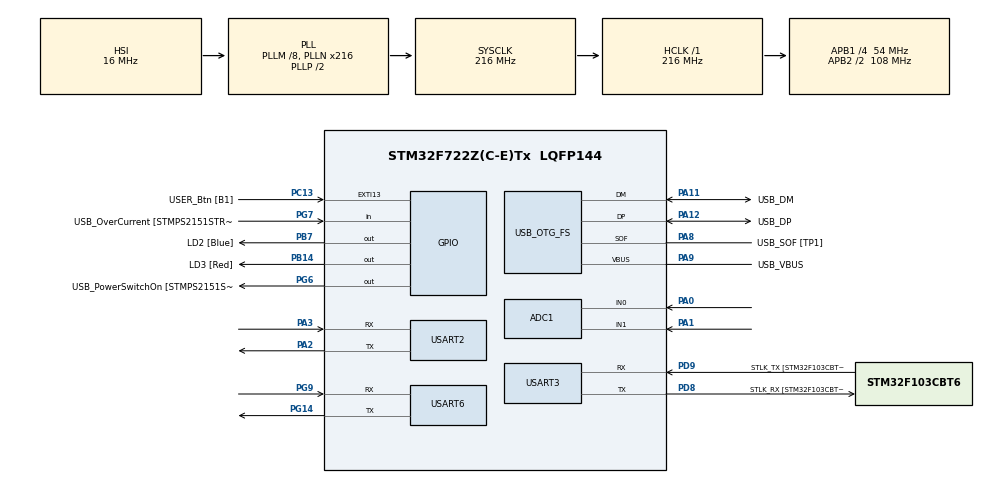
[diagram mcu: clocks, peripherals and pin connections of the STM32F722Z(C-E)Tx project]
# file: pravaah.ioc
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ADC1.Channel-0\#ChannelRegularConversion=ADC_CHANNEL_0
ADC1.Channel-1\#ChannelRegularConversion=ADC_CHANNEL_1
ADC1.DMAContinuousRequests=ENABLE
ADC1.EOCSelection=ADC_EOC_SEQ_CONV
ADC1.ExternalTrigConv=ADC_EXTERNALTRIGCONV_T2_TRGO
ADC1.NbrOfConversion=2
ADC1.NbrOfConversionFlag=1
ADC1.Rank-0\#ChannelRegularConversion=1
ADC1.Rank-1\#ChannelRegularConversion=2
ADC1.SamplingTime-0\#ChannelRegularConversion=ADC_SAMPLETIME_144CYCLES
ADC1.SamplingTime-1\#ChannelRegularConversion=ADC_SAMPLETIME_144CYCLES
ADC1.ScanConvMode=ADC_SCAN_ENABLE
ADC1.master=1
CORTEX_M7.default_mode_Activation=1
Dma.ADC1.0.Direction=DMA_PERIPH_TO_MEMORY
Dma.ADC1.0.FIFOMode=DMA_FIFOMODE_DISABLE
Dma.ADC1.0.Instance=DMA2_Stream0
Dma.ADC1.0.MemDataAlignment=DMA_MDATAALIGN_HALFWORD
Dma.ADC1.0.MemInc=DMA_MINC_ENABLE
Dma.ADC1.0.Mode=DMA_CIRCULAR
Dma.ADC1.0.PeriphDataAlignment=DMA_PDATAALIGN_HALFWORD
Dma.ADC1.0.PeriphInc=DMA_PINC_DISABLE
Dma.ADC1.0.Priority=DMA_PRIORITY_HIGH
Dma.Request0=ADC1
Dma.Request1=USART3_TX
Dma.USART3_TX.1.Direction=DMA_MEMORY_TO_PERIPH
Dma.USART3_TX.1.FIFOMode=DMA_FIFOMODE_DISABLE
Dma.USART3_TX.1.Instance=DMA1_Stream3
Dma.USART3_TX.1.MemDataAlignment=DMA_MDATAALIGN_BYTE
Dma.USART3_TX.1.MemInc=DMA_MINC_ENABLE
Dma.USART3_TX.1.Mode=DMA_NORMAL
Dma.USART3_TX.1.PeriphDataAlignment=DMA_PDATAALIGN_BYTE
Dma.USART3_TX.1.PeriphInc=DMA_PINC_DISABLE
Dma.USART3_TX.1.Priority=DMA_PRIORITY_HIGH
Mcu.Family=STM32F7
Mcu.Name=STM32F722Z(C-E)Tx
Mcu.Package=LQFP144
NVIC.DMA1_Stream3_IRQn=true\:0\:0\:false\:false\:true\:false\:true\:true
NVIC.DMA2_Stream0_IRQn=true\:0\:0\:false\:false\:true\:false\:true\:true
NVIC.PriorityGroup=NVIC_PRIORITYGROUP_4
NVIC.USART6_IRQn=true\:0\:0\:false\:false\:true\:true\:true\:true
PA0-WKUP.Signal=ADCx_IN0
PA1.Signal=ADCx_IN1
PA10.GPIO_Label=USB_ID
PA10.Signal=USB_OTG_FS_ID
PA11.GPIO_Label=USB_DM
PA11.Mode=Device_Only
PA11.Signal=USB_OTG_FS_DM
PA12.GPIO_Label=USB_DP
PA12.Mode=Device_Only
PA12.Signal=USB_OTG_FS_DP
PA13.GPIO_Label=TMS
PA13.Mode=Serial_Wire
PA13.Signal=SYS_JTMS-SWDIO
PA14.GPIO_Label=TCK
PA14.Mode=Serial_Wire
PA14.Signal=SYS_JTCK-SWCLK
PA2.Mode=Asynchronous
PA2.Signal=USART2_TX
PA3.Mode=Asynchronous
PA3.Signal=USART2_RX
PA8.GPIO_Label=USB_SOF [TP1]
PA8.Mode=Activate_SOF_FS
PA8.Signal=USB_OTG_FS_SOF
PA9.GPIO_Label=USB_VBUS
PA9.Mode=Activate_VBUS
PA9.Signal=USB_OTG_FS_VBUS
PB14.GPIO_Label=LD3 [Red]
PB14.Signal=GPIO_Output
PB3.GPIO_Label=SWO
PB3.Signal=SYS_JTDO-SWO
PB7.GPIO_Label=LD2 [Blue]
PB7.Signal=GPIO_Output
PC13.GPIO_Label=USER_Btn [B1]
PC13.Signal=GPXTI13
PC14-OSC32_IN.Mode=LSE-External-Oscillator
PC14-OSC32_IN.Signal=RCC_OSC32_IN
PC15-OSC32_OUT.Mode=LSE-External-Oscillator
PC15-OSC32_OUT.Signal=RCC_OSC32_OUT
PD8.GPIO_Label=STLK_RX [STM32F103CBT6_PA3]
PD8.Mode=Asynchronous
PD8.Signal=USART3_TX
PD9.GPIO_Label=STLK_TX [STM32F103CBT6_PA2]
PD9.Mode=Asynchronous
PD9.Signal=USART3_RX
PG14.Mode=Asynchronous
PG14.Signal=USART6_TX
PG6.GPIO_Label=USB_PowerSwitchOn [STMPS2151STR_EN]
PG6.Signal=GPIO_Output
PG7.GPIO_Label=USB_OverCurrent [STMPS2151STR_FAULT]
PG7.Signal=GPIO_Input
PG9.Mode=Asynchronous
PG9.Signal=USART6_RX
PH0-OSC_IN.GPIO_Label=MCO
PH0-OSC_IN.Mode=HSE-External-Clock-Source
PH0-OSC_IN.Signal=RCC_OSC_IN
PH1-OSC_OUT.Mode=HSE-External-Clock-Source
PH1-OSC_OUT.Signal=RCC_OSC_OUT
ProjectManager.HeapSize=0x200
ProjectManager.StackSize=0x400
ProjectManager.TargetToolchain=STM32CubeIDE
RCC.48MHZClocksFreq_Value=24000000
RCC.AHBFreq_Value=216000000
RCC.APB1CLKDivider=RCC_HCLK_DIV4
RCC.APB1Freq_Value=54000000
RCC.APB1TimFreq_Value=108000000
RCC.APB2CLKDivider=RCC_HCLK_DIV2
RCC.APB2Freq_Value=108000000
RCC.APB2TimFreq_Value=216000000
RCC.CortexFreq_Value=216000000
RCC.HCLKFreq_Value=216000000
RCC.HSE_VALUE=8000000
RCC.HSI_VALUE=16000000
RCC.PLLM=4
RCC.PLLMUL=RCC_PLL_MUL9
RCC.PLLN=216
RCC.PLLQ=9
RCC.PRESCALERUSB=RCC_USBCLKSOURCE_PLL_DIV1_5
RCC.SYSCLKFreq_VALUE=216000000
RCC.SYSCLKSource=RCC_SYSCLKSOURCE_PLLCLK
RCC.SYSCLKSourceVirtual=RCC_SYSCLKSOURCE_PLLCLK
RCC.USBFreq_Value=48000000
RCC.VCOOutputFreq_Value=432000000
SH.ADCx_IN0.0=ADC1_IN0,IN0
SH.ADCx_IN1.0=ADC1_IN1,IN1
TIM2.Period=134
TIM2.Prescaler=124
TIM2.TIM_MasterOutputTrigger=TIM_TRGO_UPDATE
USART2.VirtualMode-Asynchronous=VM_ASYNC
USART3.VirtualMode-Asynchronous=VM_ASYNC
USART6.Parity=PARITY_EVEN
USART6.VirtualMode-Asynchronous=VM_ASYNC
USART6.WordLength=WORDLENGTH_9B
USB_OTG_FS.VirtualMode=Device_Only
VP_TIM2_VS_ClockSourceINT.Mode=Internal
board=NUCLEO-F722ZE

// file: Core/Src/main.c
/* USER CODE BEGIN Header */
/**
  ******************************************************************************
  * @file           : main.c
  * @brief          : Main program body
  ******************************************************************************
  * @attention
  *
  * Copyright (c) 2025 STMicroelectronics.
  * All rights reserved.
  *
  * This software is licensed under terms that can be found in the LICENSE file
  * in the root directory of this software component.
  * If no LICENSE file comes with this software, it is provided AS-IS.
  *
  ******************************************************************************
  */
/* USER CODE END Header */
#include "main.h"

/* USER CODE BEGIN Includes */
#include <string.h>
#include <stdio.h>
#include <stdbool.h>
#include <math.h>
#include "arm_math.h"
#include "arm_const_structs.h"

/* USER CODE END Includes */

ADC_HandleTypeDef hadc1;
DMA_HandleTypeDef hdma_adc1;

TIM_HandleTypeDef htim2;

UART_HandleTypeDef huart2;
UART_HandleTypeDef huart3;
UART_HandleTypeDef huart6;
DMA_HandleTypeDef hdma_usart3_tx;

PCD_HandleTypeDef hpcd_USB_OTG_FS;

/* USER CODE BEGIN PV */
volatile uint8_t uart3_tx_done = 1;

#define KMC_PERIOD_MS        1000U     // 1 Hz KMC slots
#define VLD_SPREAD_MS        4000U     // every 4 seconds => ~15 reads/min
#define VLD_MAX_PER_MIN      20U
#define VLD_MIN_PER_MIN      10U       // (not enforced; just target)

#define KMC_PEAK_REL_GATE  0.20f   // gate at 20% of peak power (tune if needed)
#define KMC_FD_MIN_HZ      0.5f    // Doppler band min (example)
#define KMC_FD_MAX_HZ      200.0f  // Doppler band max (example)

#define FS_HZ_INT           3200U
#define CAPTURE_SEC         1U
#define CH_COUNT            2U

#define IQ_PAIRS_PER_CAP    (FS_HZ_INT * CAPTURE_SEC)   // 2400
#define DMA_LEN             (IQ_PAIRS_PER_CAP * CH_COUNT) // 4800 uint16

#define FS_HZ               3200.0f
#define WINDOW_SEC          5
#define IQ_PAIRS_PER_HALF   ((uint32_t)(FS_HZ * WINDOW_SEC))
//#define CH_COUNT            2
//#define DMA_LEN             (IQ_PAIRS_PER_HALF * CH_COUNT * 2)
#define REPORT_EVERY_SEC    5
#define FTX_HZ              24.125e9f
#define C_MPS               3.0e8f

/* Defines from vld1.c (V-LD1 Radar) */
#define N_READS             15
//#define CAPTURE_PERIOD_MS   (1 * 60 * 1000)
#define SIGNAL_TIMEOUT_MS   (2 * 60 * 1000)
#define RELAY_COOLDOWN_MS   (1 * 60 * 1000)

/* Hardware Pin Mapping */
#define RELAY_PIN           GPIO_PIN_10
#define RELAY_PORT          GPIOA
#define TRIGGER_PIN         GPIO_PIN_3
#define TRIGGER_PORT        GPIOB

/* ===== Python-equivalent KMC1 processing settings ===== */
#define FS_HZ_F                 3200.0f
#define RADAR_F0_HZ             24.125e9f
#define CORRECTION_ANGLE_DEG    65.0f

#define BATCH_DURATION_SEC      1U
#define AGG_WINDOW_SEC          60U
#define SLEEP_WINDOW_SEC        240U

#define SAMPLES_PER_BATCH       ((uint32_t)(FS_HZ_F * (float)BATCH_DURATION_SEC)) // 3200
#define KMC_NFFT                4096U   // matches Python outcome

#define MIN_SNR_DB              3.0f
#define THRESH_FRAC_OF_SNR      0.50f
#define CLUTTER_THRESH_MPS      0.15f

// Direction: Python uses 'RECEDING' to take negative-frequency half
#define RIVER_RECEDING          1

static float kmc_fft_buf[2 * KMC_NFFT];          // complex buffer (Re,Im,...)
static float kmc_win[SAMPLES_PER_BATCH];         // Hann window length 3200

static float BIN_TO_VEL;                          // m/s per FFT bin (radial)
static float COS_CORR;                            // cos(angle)

/* ===== IQ streaming over UART3 (binary framed) ===== */
#define IQ_MAGIC0 'I'
#define IQ_MAGIC1 'Q'
#define IQ_MAGIC2 'P'
#define IQ_MAGIC3 'K'
#define IQ_HDR_LEN 20

static volatile uint8_t  iq_tx_busy  = 0;
static volatile uint8_t  iq_tx_stage = 0;   // 0=idle, 1=hdr, 2=payload
static uint8_t           iq_hdr[IQ_HDR_LEN];
static uint32_t          iq_seq = 0;

static uint8_t          *iq_payload_ptr = NULL;
static uint32_t          iq_payload_len = 0;

/* --- Median filter state (keep even if unused) --- */
#define MED_WIN 12
static float   fd_win[MED_WIN];
static uint8_t fd_win_idx   = 0;
static uint8_t fd_win_count = 0;
/* USER CODE END PV */

void SystemClock_Config(void);
static void MPU_Config(void);
static void MX_GPIO_Init(void);
static void MX_DMA_Init(void);
static void MX_USART3_UART_Init(void);
static void MX_USB_OTG_FS_PCD_Init(void);
static void MX_USART6_UART_Init(void);
static void MX_TIM2_Init(void);
static void MX_USART2_UART_Init(void);
static void MX_ADC1_Init(void);

/* USER CODE BEGIN 0 */
/* Global Variables */

#define KMC_READS_PER_CYCLE   60
#define VLD_READS_PER_CYCLE   10

typedef enum { STATE_KMC = 0, STATE_VLD1 = 1 } capture_state_t;
static capture_state_t cap_state = STATE_KMC;

static uint32_t kmc_count = 0;
static uint32_t vld_count = 0;
//static float vld_vals[VLD_MAX_PER_MIN];
//uint32_t vld_n = 0;
//uint32_t next_vld_ms = HAL_GetTick();  // schedule first attempt immediately (or +1000)

extern UART_HandleTypeDef huart2;
extern UART_HandleTypeDef huart3;
extern UART_HandleTypeDef huart6;
extern ADC_HandleTypeDef hadc1;
extern TIM_HandleTypeDef htim2;

/* KMC1 State Variables */
uint16_t adc_dma[DMA_LEN];
volatile uint8_t half_ready = 0;
volatile uint8_t full_ready = 0;
static float v_hist[REPORT_EVERY_SEC];
static uint8_t v_hist_idx = 0;
static uint8_t v_hist_count = 0;
//static float fd_filt = 0.0f;
//static const float beta = 0.8f;
static float cos_tilt = 1.0f;

/* V-LD1 State Variables */
//uint32_t nextCaptureAt = 0;
uint32_t lastSignalTime = 0;
uint32_t cooldownStart = 0;
bool cooldownActive = false;

uint8_t INIT_CMD[] = { 'I','N','I','T', 0x01, 0x00, 0x00, 0x00, 0x00 };
uint8_t GNFD_CMD[] = { 'G','N','F','D', 0x01, 0x00, 0x00, 0x00, 0x04 };
uint8_t START_CMD[] = { 'S','T','R','T', 0x01, 0x00, 0x00, 0x00, 0x01 };

int _write(int file, char *ptr, int len) {
    HAL_UART_Transmit(&huart2, (uint8_t*)ptr, len, HAL_MAX_DELAY);
    return len;
}

/* KMC1 Helper Functions (from main.c) */
static float estimate_fd_hz(const uint16_t *iq, int pairs, float fs_hz) {
    float meanI = 0, meanQ = 0;
    for (int n=0; n<pairs; n++) { meanI += iq[2*n+0]; meanQ += iq[2*n+1]; }
    meanI /= pairs; meanQ /= pairs;

    float prev = 0, sum_dphi = 0;
    for (int n=0; n<pairs; n++) {
        float I = (float)iq[2*n+0] - meanI;
        float Q = (float)iq[2*n+1] - meanQ;
        float phi = atan2f(Q, I);
        if (n>0) {
            float d = phi - prev;
            if (d > (float)M_PI) d -= (float)(2.0*M_PI);
            if (d < -(float)M_PI) d += (float)(2.0*M_PI);
            sum_dphi += d;
        }
        prev = phi;
    }
    return (fs_hz / (2.0f*(float)M_PI)) * (sum_dphi / (pairs-1));
}

static float fd_to_velocity_mps(float fd_hz) {
    return (C_MPS / (2.0f * FTX_HZ)) * fd_hz;
}

/* V-LD1 Helper Functions (from vld1.c) */
HAL_StatusTypeDef readPacket(char* hdr, uint8_t* payload, uint32_t* outLen) {
    uint8_t lenb[4];
    __HAL_UART_CLEAR_IT(&huart6, UART_CLEAR_OREF | UART_CLEAR_NEF | UART_CLEAR_FEF | UART_CLEAR_PEF);
    if (HAL_UART_Receive(&huart6, (uint8_t*)hdr, 4, 300) != HAL_OK) return HAL_TIMEOUT;
    if (HAL_UART_Receive(&huart6, lenb, 4, 100) != HAL_OK) return HAL_TIMEOUT;
    uint32_t len = (uint32_t)lenb[0] | (lenb[1] << 8) | (lenb[2] << 16) | (lenb[3] << 24);
    *outLen = len;
    if (len > 256 || len == 0) return HAL_ERROR;
    return HAL_UART_Receive(&huart6, payload, len, 300);
}

void relayFSM() {
    uint32_t now = HAL_GetTick();
    bool trigger = HAL_GPIO_ReadPin(TRIGGER_PORT, TRIGGER_PIN) == GPIO_PIN_SET;
    if (trigger) {
        lastSignalTime = now;
        if (!cooldownActive) {
            HAL_GPIO_WritePin(RELAY_PORT, RELAY_PIN, GPIO_PIN_SET);
            cooldownActive = true; cooldownStart = now;
        }
    }
    if (!cooldownActive && (now - lastSignalTime >= SIGNAL_TIMEOUT_MS)) {
        HAL_GPIO_WritePin(RELAY_PORT, RELAY_PIN, GPIO_PIN_SET);
        cooldownActive = true; cooldownStart = now;
    }
    if (cooldownActive && (now - cooldownStart >= RELAY_COOLDOWN_MS)) {
        HAL_GPIO_WritePin(RELAY_PORT, RELAY_PIN, GPIO_PIN_RESET);
        cooldownActive = false; lastSignalTime = now;
    }
}

float medianOf(float *arr, int n) {
    float tmp[N_READS];
    for (int i = 0; i < n; ++i) tmp[i] = arr[i];
    for (int i = 1; i < n; ++i) {
        float key = tmp[i]; int j = i - 1;
        while (j >= 0 && tmp[j] > key) { tmp[j + 1] = tmp[j]; --j; }
        tmp[j + 1] = key;
    }
    return (n % 2 != 0) ? tmp[n / 2] : 0.5f * (tmp[n / 2 - 1] + tmp[n / 2]);
}

/* ===== KMC1 FFT helpers ===== */

static void kmc1_init_hann_window(void)
{
    // Hann window length = SAMPLES_PER_BATCH (3200)
    // w[n] = 0.5*(1 - cos(2*pi*n/(N-1)))
    for (uint32_t n = 0; n < SAMPLES_PER_BATCH; n++)
    {
        kmc_win[n] = 0.5f * (1.0f - cosf((2.0f * (float)M_PI * (float)n) / (float)(SAMPLES_PER_BATCH - 1)));
    }

    COS_CORR = cosf(CORRECTION_ANGLE_DEG * (float)M_PI / 180.0f);

    // bin_to_vel_factor = (Fs/NFFT) * (lambda/2)
    // lambda = c/f0
    BIN_TO_VEL = (FS_HZ_F / (float)KMC_NFFT) * ((3.0e8f / RADAR_F0_HZ) * 0.5f);
}

static float kmc_process_one_batch_python(const uint16_t *iq_u16,
                                          float *out_snr_db,
                                          float *out_width_mps)
{
    // ---- 0) DC remove (detrend) on 3200 samples ----
    float meanI = 0.0f, meanQ = 0.0f;
    for (uint32_t n = 0; n < SAMPLES_PER_BATCH; n++)
    {
        meanI += (float)iq_u16[2*n + 0];
        meanQ += (float)iq_u16[2*n + 1];
    }
    meanI /= (float)SAMPLES_PER_BATCH;
    meanQ /= (float)SAMPLES_PER_BATCH;

    // ---- 1) Window + pack into FFT buffer (zero-pad to 4096) ----
    for (uint32_t n = 0; n < SAMPLES_PER_BATCH; n++)
    {
        float I = ((float)iq_u16[2*n + 0] - meanI) * kmc_win[n];
        float Q = ((float)iq_u16[2*n + 1] - meanQ) * kmc_win[n];
        kmc_fft_buf[2*n + 0] = I;
        kmc_fft_buf[2*n + 1] = Q;
    }
    for (uint32_t n = SAMPLES_PER_BATCH; n < KMC_NFFT; n++)
    {
        kmc_fft_buf[2*n + 0] = 0.0f;
        kmc_fft_buf[2*n + 1] = 0.0f;
    }

    // ---- 2) FFT (complex) ----
    arm_cfft_f32(&arm_cfft_sR_f32_len4096, kmc_fft_buf, 0, 1);

    // ---- 3) Power spectrum stats: mean power + peak power ----
    // Python: mag_sq = abs(spectrum)^2
    // noise_floor_db = 10log10(mean(mag_sq)+1e-9)
    // peak_db = max(10log10(mag_sq+1e-9))
    const float eps = 1e-9f;

    float sumP = 0.0f;
    float pmax = 0.0f;

    for (uint32_t k = 0; k < KMC_NFFT; k++)
    {
        float re = kmc_fft_buf[2*k + 0];
        float im = kmc_fft_buf[2*k + 1];
        float p  = re*re + im*im;
        sumP += p;
        if (p > pmax) pmax = p;
    }

    float meanP = sumP / (float)KMC_NFFT;
    float noise_db = 10.0f * log10f(meanP + eps);
    float peak_db  = 10.0f * log10f(pmax  + eps);
    float snr_db   = peak_db - noise_db;

    if (out_snr_db) *out_snr_db = snr_db;

    // ---- 4) SNR gate ----
    if (snr_db < MIN_SNR_DB || !isfinite(snr_db))
    {
        if (out_width_mps) *out_width_mps = 0.0f;
        return 0.0f;
    }

    // ---- 5) Threshold: noise + 0.20 * dynamic_range (which = snr) ----
    float thresh_db  = noise_db + (THRESH_FRAC_OF_SNR * snr_db);
    float thresh_lin = powf(10.0f, thresh_db / 10.0f);

    // ---- 6) Centroid over selected bins (Python direction logic) ----
    // Python:
    // if RECEDING: bins i = N/2..N-1, idx_shifted = i - N (negative)
    // vel = idx_shifted * BIN_TO_VEL
    // skip abs(vel) < clutter
    // if spectrum_db[i] > threshold_db => include (equivalent to p > thresh_lin)
    float num = 0.0f, den = 0.0f;

#if RIVER_RECEDING
    uint32_t start_bin = KMC_NFFT / 2;
    uint32_t end_bin   = KMC_NFFT;
#else
    uint32_t start_bin = 1;
    uint32_t end_bin   = KMC_NFFT / 2;
#endif

    for (uint32_t i = start_bin; i < end_bin; i++)
    {
#if RIVER_RECEDING
        int32_t idx_shifted = (int32_t)i - (int32_t)KMC_NFFT;
#else
        int32_t idx_shifted = (int32_t)i;
#endif
        float vel = (float)idx_shifted * BIN_TO_VEL;

        if (fabsf(vel) < CLUTTER_THRESH_MPS) continue;

        float re = kmc_fft_buf[2*i + 0];
        float im = kmc_fft_buf[2*i + 1];
        float p  = re*re + im*im;

        if (p > thresh_lin)
        {
            num += vel * p;
            den += p;
        }
    }

    if (den <= 0.0f || !isfinite(den))
    {
        if (out_width_mps) *out_width_mps = 0.0f;
        return 0.0f;
    }

    float centroid_radial = num / den;         // m/s (radial)
    float centroid_corr   = centroid_radial / COS_CORR;

    // ---- 7) Spectral width (weighted stddev around centroid_radial) ----
    float var_num = 0.0f;

    for (uint32_t i = start_bin; i < end_bin; i++)
    {
#if RIVER_RECEDING
        int32_t idx_shifted = (int32_t)i - (int32_t)KMC_NFFT;
#else
        int32_t idx_shifted = (int32_t)i;
#endif
        float vel = (float)idx_shifted * BIN_TO_VEL;

        if (fabsf(vel) < CLUTTER_THRESH_MPS) continue;

        float re = kmc_fft_buf[2*i + 0];
        float im = kmc_fft_buf[2*i + 1];
        float p  = re*re + im*im;

        if (p > thresh_lin)
        {
            float d = (vel - centroid_radial);
            var_num += p * (d * d);
        }
    }

    float variance = var_num / den;
    float width = (variance > 0.0f) ? sqrtf(variance) : 0.0f; // radial width

    if (out_width_mps) *out_width_mps = width / COS_CORR;

    // Python returns abs(centroid_corrected)
    float v_out = fabsf(centroid_corr);
    if (!isfinite(v_out)) v_out = 0.0f;
    return v_out;
}

static float kmc1_centroid_from_fft_side(const float *X, float fs_hz,
                                         int use_negative_side,
                                         int kmin, int kmax)
{
    // X is interleaved complex FFT output length NFFT (Re,Im,...)
    // If use_negative_side=0: use bins k=1..N/2-1 (positive)
    // If use_negative_side=1: use bins k=N-1..N/2+1 (negative mapped to +freq magnitude)

    float pmax = 0.0f;

    // 1) find peak power in band (for gating)
    if (!use_negative_side)
    {
        for (int k = kmin; k <= kmax; k++)
        {
            float re = X[2*k + 0];
            float im = X[2*k + 1];
            float p  = re*re + im*im;
            if (p > pmax) pmax = p;
        }
    }
    else
    {
        // negative side bin index maps: freq_mag = fs*(N-k)/N
        for (int kmag = kmin; kmag <= kmax; kmag++)
        {
            int k = KMC_NFFT - kmag; // bin corresponding to -freq_mag
            float re = X[2*k + 0];
            float im = X[2*k + 1];
            float p  = re*re + im*im;
            if (p > pmax) pmax = p;
        }
    }

    if (pmax <= 0.0f) return 0.0f;

    float gate = pmax * KMC_PEAK_REL_GATE;

    // 2) centroid
    float sumP = 0.0f;
    float sumFP = 0.0f;

    if (!use_negative_side)
    {
        for (int k = kmin; k <= kmax; k++)
        {
            float re = X[2*k + 0];
            float im = X[2*k + 1];
            float p  = re*re + im*im;
            if (p < gate) continue;

            float f = (fs_hz * (float)k) / (float)KMC_NFFT;
            sumP  += p;
            sumFP += f * p;
        }
    }
    else
    {
        for (int kmag = kmin; kmag <= kmax; kmag++)
        {
            int k = KMC_NFFT - kmag;
            float re = X[2*k + 0];
            float im = X[2*k + 1];
            float p  = re*re + im*im;
            if (p < gate) continue;

            float fmag = (fs_hz * (float)kmag) / (float)KMC_NFFT; // magnitude
            sumP  += p;
            sumFP += fmag * p;
        }
    }

    if (sumP <= 0.0f) return 0.0f;
    return sumFP / sumP; // fd magnitude in Hz
}

static float estimate_fd_fft_hz(const uint16_t *iq, int pairs, float fs_hz,
                                float *out_meanI, float *out_meanQ)
{
    // We use first KMC_NFFT complex samples (I,Q) from iq[2*n], iq[2*n+1]
    // pairs must be >= KMC_NFFT
    if (pairs < KMC_NFFT) return 0.0f;

    // 1) mean removal (DC)
    float meanI = 0.0f, meanQ = 0.0f;
    for (int n = 0; n < KMC_NFFT; n++)
    {
        meanI += (float)iq[2*n + 0];
        meanQ += (float)iq[2*n + 1];
    }
    meanI /= (float)KMC_NFFT;
    meanQ /= (float)KMC_NFFT;
    if (out_meanI) *out_meanI = meanI;
    if (out_meanQ) *out_meanQ = meanQ;

    // 2) window + pack complex buffer for FFT
    for (int n = 0; n < KMC_NFFT; n++)
    {
        float I = ((float)iq[2*n + 0] - meanI) * kmc_win[n];
        float Q = ((float)iq[2*n + 1] - meanQ) * kmc_win[n];

        kmc_fft_buf[2*n + 0] = I;
        kmc_fft_buf[2*n + 1] = Q;
    }

    // 3) complex FFT (in-place)
    arm_cfft_f32(&arm_cfft_sR_f32_len4096, kmc_fft_buf, 0, 1);

    // 4) choose Doppler band bins
    int kmin = (int)ceilf((KMC_FD_MIN_HZ * (float)KMC_NFFT) / fs_hz);
    int kmax = (int)floorf((KMC_FD_MAX_HZ * (float)KMC_NFFT) / fs_hz);

    if (kmin < 1) kmin = 1;
    if (kmax > (KMC_NFFT/2 - 1)) kmax = (KMC_NFFT/2 - 1);
    if (kmax <= kmin) return 0.0f;

    // 5) compute centroid on both sides, pick the side with higher total gated energy
    // (river direction may map to + or - Doppler depending on mounting)
    float fd_pos = kmc1_centroid_from_fft_side(kmc_fft_buf, fs_hz, 0, kmin, kmax);
    float fd_neg = kmc1_centroid_from_fft_side(kmc_fft_buf, fs_hz, 1, kmin, kmax);

    // pick the larger centroid result only if the other is ~0; otherwise pick the side with bigger fd (practical)
    // (simple heuristic; robust enough for river surface speed magnitude)
    float fd = (fd_pos >= fd_neg) ? fd_pos : fd_neg;
    return fd; // magnitude in Hz
}

static float running_median_fd_push(float x)
{
    // push into ring buffer
    fd_win[fd_win_idx] = x;
    fd_win_idx = (fd_win_idx + 1) % MED_WIN;
    if (fd_win_count < MED_WIN) fd_win_count++;

    // copy current window to temp
    float tmp[MED_WIN];
    for (uint8_t i = 0; i < fd_win_count; i++) tmp[i] = fd_win[i];

    // insertion sort (MED_WIN is tiny)
    for (uint8_t i = 1; i < fd_win_count; i++) {
        float key = tmp[i];
        int j = (int)i - 1;
        while (j >= 0 && tmp[j] > key) {
            tmp[j + 1] = tmp[j];
            j--;
        }
        tmp[j + 1] = key;
    }

    // median
    if (fd_win_count & 1) {
        return tmp[fd_win_count / 2];
    } else {
        uint8_t m = fd_win_count / 2;
        return 0.5f * (tmp[m - 1] + tmp[m]);
    }
}

static void uart3_send_blocking(const uint8_t *buf, uint32_t len)
{
    while (len)
    {
        uint16_t n = (len > 1024) ? 1024 : (uint16_t)len;
        HAL_UART_Transmit(&huart3, (uint8_t*)buf, n, HAL_MAX_DELAY);
        buf += n;
        len -= n;
    }
}

static int vld1_read_distance_once(float *out_m)
{
    // Returns:
    //  0  -> got PDAT float distance
    // -1  -> no valid PDAT this attempt (timeout/other packet)
    // -2  -> UART error

    // Clear UART6 errors + flush RX (same as your standalone code)
    __HAL_UART_CLEAR_IT(&huart6, UART_CLEAR_OREF | UART_CLEAR_NEF | UART_CLEAR_FEF | UART_CLEAR_PEF);
    __HAL_UART_SEND_REQ(&huart6, UART_RXDATA_FLUSH_REQUEST);

    // Trigger acquisition (ACQI)
    uint8_t ACQI_CMD[] = { 'A','C','Q','I', 0x01, 0x00, 0x00, 0x00, 0x00 };
    if (HAL_UART_Transmit(&huart6, ACQI_CMD, sizeof(ACQI_CMD), 50) != HAL_OK) return -2;

    // Drain one packet quickly if any (ACQI response etc). Don’t care if it fails.
    {
        char dh[4]; uint8_t dp[256]; uint32_t dl;
        (void)readPacket(dh, dp, &dl);
    }

    HAL_Delay(100);

    // Request PDAT only
    if (HAL_UART_Transmit(&huart6, GNFD_CMD, sizeof(GNFD_CMD), 50) != HAL_OK) return -2;

    char hdr[5] = {0};
    uint8_t payload[256];
    uint32_t pLen = 0;

    // First read
    if (readPacket(hdr, payload, &pLen) != HAL_OK) return -1;

    if (strncmp(hdr, "PDAT", 4) == 0)
    {
        if (pLen < 4) return -1;
        memcpy(out_m, payload, 4);
        return 0;
    }

    // If it was RESP, your sensor sometimes sends PDAT right after
    if (strncmp(hdr, "RESP", 4) == 0)
    {
        if (readPacket(hdr, payload, &pLen) != HAL_OK) return -1;
        if (strncmp(hdr, "PDAT", 4) == 0)
        {
            if (pLen < 4) return -1;
            memcpy(out_m, payload, 4);
            return 0;
        }
    }

    return -1;
}

static int vld1_read_distance_once_fast(float *out_m)
{
    // Clear errors + flush RX (critical)
    __HAL_UART_CLEAR_IT(&huart6, UART_CLEAR_OREF | UART_CLEAR_NEF | UART_CLEAR_FEF | UART_CLEAR_PEF);
    __HAL_UART_SEND_REQ(&huart6, UART_RXDATA_FLUSH_REQUEST);

    // 1) ACQI
    uint8_t ACQI_CMD[] = { 'A','C','Q','I', 0x01, 0x00, 0x00, 0x00, 0x00 };
    if (HAL_UART_Transmit(&huart6, ACQI_CMD, sizeof(ACQI_CMD), 50) != HAL_OK) return -2;

    // 2) IMPORTANT: read & discard ONE packet (usually ACQI RESP)
    {
        char dh[4]; uint8_t dp[256]; uint32_t dl = 0;
        (void)readPacket(dh, dp, &dl);
    }

    // Give sensor time to prepare PDAT (your working code uses ~100ms)
    HAL_Delay(100);

    // 3) GNFD (request distance)
    if (HAL_UART_Transmit(&huart6, GNFD_CMD, sizeof(GNFD_CMD), 50) != HAL_OK) return -2;

    // 4) Read up to a few packets until PDAT arrives
    for (int tries = 0; tries < 3; tries++)
    {
        char hdr[5] = {0};
        uint8_t payload[256];
        uint32_t pLen = 0;

        if (readPacket(hdr, payload, &pLen) != HAL_OK) return -1;

        if (strncmp(hdr, "PDAT", 4) == 0)
        {
            if (pLen < 4) return -1;
            memcpy(out_m, payload, 4);
            return 0;
        }

        // Sometimes: RESP then PDAT (so loop again)
        if (strncmp(hdr, "RESP", 4) == 0)
        {
            continue;
        }

        // Anything else: keep looping a couple times
    }

    return -1;
}

static void uart3_send_vld1_pkt(uint32_t cycle_seq, uint32_t idx, float dist_m, uint8_t ok)
{
    // JSON: {"T":"VLD","S":%lu,"i":%lu,"d":%.3f,"ok":%d}
    char json_buf[128];
    int json_len = snprintf(json_buf, sizeof(json_buf),
        "{\"T\":\"VLD\",\"S\":%lu,\"i\":%lu,\"d\":%.3f,\"ok\":%d}\n",
        (unsigned long)cycle_seq, (unsigned long)idx, dist_m, ok);

    if (json_len > 0)
    {
        HAL_UART_Transmit(&huart3, (uint8_t*)json_buf, (uint16_t)json_len, HAL_MAX_DELAY);
    }
}

static void sleep_ms_with_relay(uint32_t ms)
{
    uint32_t t0 = HAL_GetTick();
    while ((uint32_t)(HAL_GetTick() - t0) < ms)
    {
        relayFSM();          // keep relay logic alive
        HAL_Delay(25);       // small chunk
    }
}

static void vld1_drain_packets(uint32_t max_ms)
{
    uint32_t t0 = HAL_GetTick();
    while ((uint32_t)(HAL_GetTick() - t0) < max_ms)
    {
        char hdr[4];
        uint8_t pl[256];
        uint32_t len = 0;

        // Try to read a packet quickly; if none, stop draining.
        if (readPacket(hdr, pl, &len) != HAL_OK) break;
    }
}

/* USER CODE END 0 */

int main(void)
{

  /* MPU Configuration--------------------------------------------------------*/
  MPU_Config();

  /* MCU Configuration--------------------------------------------------------*/

  /* Reset of all peripherals, Initializes the Flash interface and the Systick. */
  HAL_Init();

  /* Configure the system clock */
  SystemClock_Config();

  /* Initialize all configured peripherals */
  MX_GPIO_Init();
  MX_DMA_Init();
  MX_USART3_UART_Init();
  MX_USB_OTG_FS_PCD_Init();
  MX_USART6_UART_Init();
  MX_TIM2_Init();
  MX_USART2_UART_Init();
  MX_ADC1_Init();
  /* USER CODE BEGIN 2 */
  // Give system time to stabilize after power-on (Relay switch-on can be noisy or slow)
  HAL_Delay(3000);

  printf("KMC1 + V-LD1 System Started\r\n");
  kmc1_init_hann_window();

  /* Initialise V-LD1 Radar */
  // ---- VLD1 Sensor init ----
  __HAL_UART_CLEAR_IT(&huart6, UART_CLEAR_OREF | UART_CLEAR_NEF | UART_CLEAR_FEF | UART_CLEAR_PEF);
  __HAL_UART_SEND_REQ(&huart6, UART_RXDATA_FLUSH_REQUEST);

  HAL_UART_Transmit(&huart6, INIT_CMD, sizeof(INIT_CMD), 100);
  HAL_Delay(120);

  HAL_UART_Transmit(&huart6, START_CMD, sizeof(START_CMD), 100);
  HAL_Delay(120);

  // Consume any START/RESP packets so the stream is aligned before first ACQI/GNFD
  vld1_drain_packets(300);

  cos_tilt = cosf(65.0f * (float)M_PI / 180.0f);

  /* Relay initial state */
  lastSignalTime = HAL_GetTick();
  HAL_GPIO_WritePin(RELAY_PORT, RELAY_PIN, GPIO_PIN_RESET);

  printf("--- Phase 1: VLD1 Capture (10 samples) ---\r\n");

  int vld_ok_count = 0;
  int vld_attempts = 0;

  while (vld_ok_count < 10 && vld_attempts < 80)
  {
      vld_attempts++;
      relayFSM();

      float dist_m = 0.0f;
      int res = vld1_read_distance_once_fast(&dist_m);

      if (res == 0 && isfinite(dist_m))
      {
          vld_ok_count++;

          // Print (goes to _write UART)
          printf("VLD Sample %d: %.3f m\r\n", vld_ok_count, dist_m);

          // Send to UART3 JSON (goes to Quectel / logger)
          uart3_send_vld1_pkt(0, vld_ok_count, dist_m, 1);

          // small spacing between successful reads
          HAL_Delay(120);
      }
      else
      {
          // Small backoff so we don’t spam sensor and desync again
          HAL_Delay(80);
      }
  }

  if (vld_ok_count < 10)
  {
      printf("Warning: VLD1 capture incomplete (%d/10), attempts=%d\r\n", vld_ok_count, vld_attempts);
  }
  else
  {
      printf("VLD1 Capture Complete.\r\n");
  }

  /* USER CODE END 2 */

  /* Infinite loop */
  /* USER CODE BEGIN WHILE */
  while (1)
  {
      static uint32_t seq = 0;

      float vel_list[AGG_WINDOW_SEC];
      float snr_sum = 0.0f;
      float wid_sum = 0.0f;
      uint32_t valid = 0;

      // =========================================================
      //  PHASE 2: KMC1 Infinite Loop
      // =========================================================
      for (uint32_t s = 0; s < AGG_WINDOW_SEC; s++)
      {
          uint32_t t0 = HAL_GetTick();
          uint32_t slot_deadline = t0 + KMC_PERIOD_MS;

          relayFSM();

          // ---- CAPTURE 1 second ----
          full_ready = 0;

          HAL_GPIO_WritePin(GPIOB, LD2_Pin, GPIO_PIN_SET);
          HAL_GPIO_WritePin(GPIOB, LD3_Pin, GPIO_PIN_RESET);

          HAL_TIM_Base_Start(&htim2);
          HAL_ADC_Start_DMA(&hadc1, (uint32_t*)adc_dma, DMA_LEN);
          while (!full_ready) { }

          HAL_ADC_Stop_DMA(&hadc1);
          HAL_TIM_Base_Stop(&htim2);

          HAL_GPIO_WritePin(GPIOB, LD2_Pin, GPIO_PIN_RESET);

          // ---- PROCESS ----
          float snr_db = 0.0f, width_mps = 0.0f;
          float vel_mps = kmc_process_one_batch_python(adc_dma, &snr_db, &width_mps);

          if (vel_mps > 0.0f && isfinite(vel_mps))
          {
              vel_list[valid++] = vel_mps;
              snr_sum += snr_db;
              wid_sum += width_mps;
          }

          // ---- SEND KMC frame (JSON) ----
          seq++;
          uint32_t t_ms = HAL_GetTick();

          char json_buf[128];
          int json_len = snprintf(json_buf, sizeof(json_buf),
              "{\"T\":\"KMC\",\"S\":%lu,\"tm\":%lu,\"v\":%.4f,\"s\":%.2f,\"w\":%.4f}\n",
              (unsigned long)seq, (unsigned long)t_ms, vel_mps, snr_db, width_mps);

          if (json_len > 0)
          {
              HAL_GPIO_WritePin(GPIOB, LD3_Pin, GPIO_PIN_SET);
              HAL_UART_Transmit(&huart3, (uint8_t*)json_buf, (uint16_t)json_len, HAL_MAX_DELAY);
              HAL_GPIO_WritePin(GPIOB, LD3_Pin, GPIO_PIN_RESET);
          }

          // ---- NO VLD1 HERE anymore ----

          // ---- wait out rest of the second ----
          while ((int32_t)(HAL_GetTick() - slot_deadline) < 0)
          {
              relayFSM();
              HAL_Delay(5);
          }
      }

      // -------- KMC minute summary --------
      float minute_median = 0.0f;
      float minute_avg_snr = 0.0f;
      float minute_avg_width = 0.0f;

      if (valid > 0)
      {
          for (uint32_t i = 1; i < valid; i++)
          {
              float key = vel_list[i];
              int32_t j = (int32_t)i - 1;
              while (j >= 0 && vel_list[j] > key)
              {
                  vel_list[j + 1] = vel_list[j];
                  j--;
              }
              vel_list[j + 1] = key;
          }

          if (valid & 1U) minute_median = vel_list[valid / 2U];
          else            minute_median = 0.5f * (vel_list[valid/2U - 1U] + vel_list[valid/2U]);

          minute_avg_snr   = snr_sum / (float)valid;
          minute_avg_width = wid_sum / (float)valid;
      }

      printf("Minute summary: valid=%lu, median=%.4f m/s, avgSNR=%.2f dB, avgWidth=%.4f m/s\r\n",
             (unsigned long)valid, minute_median, minute_avg_snr, minute_avg_width);

      // (Optional: Could sleep here, but user asked for continuous KMC)
  }

//      while (1)
//      {
//          // TEMP: You can keep relayFSM() if you still want relay safety logic.
//          // relayFSM();
//
//          if (half_ready || full_ready)
//          {
//              uint16_t *p = half_ready ? &adc_dma[0] : &adc_dma[DMA_LEN/2];
//              half_ready = 0;
//              full_ready = 0;
//
//              // ----- Choose ONE of the estimators -----
//              // A) Old time-domain (works without DSP)
////              float fd = estimate_fd_hz(p, IQ_PAIRS_PER_HALF, (float)FS_HZ);
//
//              // B) FFT method (only if your CMSIS-DSP linking is fixed)
//              float fd = estimate_fd_fft_hz(p, IQ_PAIRS_PER_HALF, (float)FS_HZ);
//              float fd_med = running_median_fd_push(fd);
//              float v_med  = fd_to_velocity_mps(fd_med) / cos_tilt;
//
//
//              // basic validity gate (avoid updating EMA with junk)
//              if (fd > 0.0f && isfinite(fd))
//              {
//                  if (!fd_filt_init) {
//                      fd_filt = fd;          // initialize EMA with first valid value
//                      fd_filt_init = 1;
//                  } else {
//                      fd_filt = beta * fd_filt + (1.0f - beta) * fd;
//                  }
//              }
//              // else: keep fd_filt unchanged (holds last stable value)
//
//              float v_raw  = fd_to_velocity_mps(fd)      / cos_tilt;
//              float v_ema  = fd_to_velocity_mps(fd_filt) / cos_tilt;
//
//              printf("KMC1: fd=%.2f Hz (ema=%.2f, med12=%.2f), v=%.3f m/s (ema=%.3f, med12=%.3f)\r\n",
//                     fd, fd_filt, fd_med,
//                     v_raw, v_ema, v_med);
//
//
//          }
//
//          // Small delay so UART printing doesn't hog CPU
//          HAL_Delay(5);
//      }

    /* USER CODE END WHILE */

  }

void SystemClock_Config(void)
{
  RCC_OscInitTypeDef RCC_OscInitStruct = {0};
  RCC_ClkInitTypeDef RCC_ClkInitStruct = {0};

  /** Configure LSE Drive Capability
  */
  HAL_PWR_EnableBkUpAccess();

  /** Configure the main internal regulator output voltage
  */
  __HAL_RCC_PWR_CLK_ENABLE();
  __HAL_PWR_VOLTAGESCALING_CONFIG(PWR_REGULATOR_VOLTAGE_SCALE1);

  /** Initializes the RCC Oscillators according to the specified parameters
  * in the RCC_OscInitTypeDef structure.
  */
  /* SWITCHING TO HSI for standalone reliability */
  RCC_OscInitStruct.OscillatorType = RCC_OSCILLATORTYPE_HSI;
  RCC_OscInitStruct.HSIState = RCC_HSI_ON;
  RCC_OscInitStruct.HSICalibrationValue = RCC_HSICALIBRATION_DEFAULT;
  RCC_OscInitStruct.PLL.PLLState = RCC_PLL_ON;
  RCC_OscInitStruct.PLL.PLLSource = RCC_PLLSOURCE_HSI;
  RCC_OscInitStruct.PLL.PLLM = 8;  // HSI=16MHz, /8 = 2MHz PLL input
  RCC_OscInitStruct.PLL.PLLN = 216;
  RCC_OscInitStruct.PLL.PLLP = RCC_PLLP_DIV2;
  RCC_OscInitStruct.PLL.PLLQ = 9;
  if (HAL_RCC_OscConfig(&RCC_OscInitStruct) != HAL_OK)
  {
    Error_Handler();
  }

  /** Activate the Over-Drive mode
  */
  if (HAL_PWREx_EnableOverDrive() != HAL_OK)
  {
    Error_Handler();
  }

  /** Initializes the CPU, AHB and APB buses clocks
  */
  RCC_ClkInitStruct.ClockType = RCC_CLOCKTYPE_HCLK|RCC_CLOCKTYPE_SYSCLK
                              |RCC_CLOCKTYPE_PCLK1|RCC_CLOCKTYPE_PCLK2;
  RCC_ClkInitStruct.SYSCLKSource = RCC_SYSCLKSOURCE_PLLCLK;
  RCC_ClkInitStruct.AHBCLKDivider = RCC_SYSCLK_DIV1;
  RCC_ClkInitStruct.APB1CLKDivider = RCC_HCLK_DIV4;
  RCC_ClkInitStruct.APB2CLKDivider = RCC_HCLK_DIV2;

  if (HAL_RCC_ClockConfig(&RCC_ClkInitStruct, FLASH_LATENCY_7) != HAL_OK)
  {
    Error_Handler();
  }
}

static void MX_ADC1_Init(void)
{

  ADC_ChannelConfTypeDef sConfig = {0};

  /** Configure the global features of the ADC (Clock, Resolution, Data Alignment and number of conversion)
  */
  hadc1.Instance = ADC1;
  hadc1.Init.ClockPrescaler = ADC_CLOCK_SYNC_PCLK_DIV4;
  hadc1.Init.Resolution = ADC_RESOLUTION_12B;
  hadc1.Init.ScanConvMode = ADC_SCAN_ENABLE;
  hadc1.Init.ContinuousConvMode = DISABLE;
  hadc1.Init.DiscontinuousConvMode = DISABLE;
  hadc1.Init.ExternalTrigConvEdge = ADC_EXTERNALTRIGCONVEDGE_RISING;
  hadc1.Init.ExternalTrigConv = ADC_EXTERNALTRIGCONV_T2_TRGO;
  hadc1.Init.DataAlign = ADC_DATAALIGN_RIGHT;
  hadc1.Init.NbrOfConversion = 2;
  hadc1.Init.DMAContinuousRequests = ENABLE;
  hadc1.Init.EOCSelection = ADC_EOC_SEQ_CONV;
  if (HAL_ADC_Init(&hadc1) != HAL_OK)
  {
    Error_Handler();
  }

  /** Configure for the selected ADC regular channel its corresponding rank in the sequencer and its sample time.
  */
  sConfig.Channel = ADC_CHANNEL_0;
  sConfig.Rank = ADC_REGULAR_RANK_1;
  sConfig.SamplingTime = ADC_SAMPLETIME_144CYCLES;
  if (HAL_ADC_ConfigChannel(&hadc1, &sConfig) != HAL_OK)
  {
    Error_Handler();
  }

  /** Configure for the selected ADC regular channel its corresponding rank in the sequencer and its sample time.
  */
  sConfig.Channel = ADC_CHANNEL_1;
  sConfig.Rank = ADC_REGULAR_RANK_2;
  if (HAL_ADC_ConfigChannel(&hadc1, &sConfig) != HAL_OK)
  {
    Error_Handler();
  }

}

static void MX_TIM2_Init(void)
{

  TIM_ClockConfigTypeDef sClockSourceConfig = {0};
  TIM_MasterConfigTypeDef sMasterConfig = {0};

  htim2.Instance = TIM2;
  htim2.Init.Prescaler = 249;
  htim2.Init.CounterMode = TIM_COUNTERMODE_UP;
  htim2.Init.Period = 134;
  htim2.Init.ClockDivision = TIM_CLOCKDIVISION_DIV1;
  htim2.Init.AutoReloadPreload = TIM_AUTORELOAD_PRELOAD_DISABLE;
  if (HAL_TIM_Base_Init(&htim2) != HAL_OK)
  {
    Error_Handler();
  }
  sClockSourceConfig.ClockSource = TIM_CLOCKSOURCE_INTERNAL;
  if (HAL_TIM_ConfigClockSource(&htim2, &sClockSourceConfig) != HAL_OK)
  {
    Error_Handler();
  }
  sMasterConfig.MasterOutputTrigger = TIM_TRGO_UPDATE;
  sMasterConfig.MasterSlaveMode = TIM_MASTERSLAVEMODE_DISABLE;
  if (HAL_TIMEx_MasterConfigSynchronization(&htim2, &sMasterConfig) != HAL_OK)
  {
    Error_Handler();
  }

}

static void MX_USART2_UART_Init(void)
{

	huart2.Instance = USART2;
	  huart2.Init.BaudRate = 115200;
	  huart2.Init.WordLength = UART_WORDLENGTH_9B;
	  huart2.Init.StopBits = UART_STOPBITS_1;
	  huart2.Init.Parity = UART_PARITY_EVEN;
	  huart2.Init.Mode = UART_MODE_TX_RX;
	  huart2.Init.HwFlowCtl = UART_HWCONTROL_NONE;
	  huart2.Init.OverSampling = UART_OVERSAMPLING_16;
	  huart2.Init.OneBitSampling = UART_ONE_BIT_SAMPLE_DISABLE;
	  huart2.AdvancedInit.AdvFeatureInit = UART_ADVFEATURE_NO_INIT;
  if (HAL_UART_Init(&huart2) != HAL_OK)
  {
    Error_Handler();
  }

}

static void MX_USART3_UART_Init(void)
{

  huart3.Instance = USART3;
  huart3.Init.BaudRate = 460800;
  huart3.Init.WordLength = UART_WORDLENGTH_8B;
  huart3.Init.StopBits = UART_STOPBITS_1;
  huart3.Init.Parity = UART_PARITY_NONE;
  huart3.Init.Mode = UART_MODE_TX_RX;
  huart3.Init.HwFlowCtl = UART_HWCONTROL_NONE;
  huart3.Init.OverSampling = UART_OVERSAMPLING_16;
  huart3.Init.OneBitSampling = UART_ONE_BIT_SAMPLE_DISABLE;
  huart3.AdvancedInit.AdvFeatureInit = UART_ADVFEATURE_NO_INIT;
  if (HAL_UART_Init(&huart3) != HAL_OK)
  {
    Error_Handler();
  }

}

static void MX_USART6_UART_Init(void)
{

	huart6.Instance = USART6;
	  huart6.Init.BaudRate = 115200;
	  huart6.Init.WordLength = UART_WORDLENGTH_9B;
	  huart6.Init.StopBits = UART_STOPBITS_1;
	  huart6.Init.Parity = UART_PARITY_EVEN;
	  huart6.Init.Mode = UART_MODE_TX_RX;
	  huart6.Init.HwFlowCtl = UART_HWCONTROL_NONE;
	  huart6.Init.OverSampling = UART_OVERSAMPLING_16;
	  huart6.Init.OneBitSampling = UART_ONE_BIT_SAMPLE_DISABLE;
	  huart6.AdvancedInit.AdvFeatureInit = UART_ADVFEATURE_NO_INIT;
  if (HAL_UART_Init(&huart6) != HAL_OK)
  {
    Error_Handler();
  }

}

static void MX_USB_OTG_FS_PCD_Init(void)
{

  hpcd_USB_OTG_FS.Instance = USB_OTG_FS;
  hpcd_USB_OTG_FS.Init.dev_endpoints = 6;
  hpcd_USB_OTG_FS.Init.speed = PCD_SPEED_FULL;
  hpcd_USB_OTG_FS.Init.dma_enable = DISABLE;
  hpcd_USB_OTG_FS.Init.phy_itface = PCD_PHY_EMBEDDED;
  hpcd_USB_OTG_FS.Init.Sof_enable = ENABLE;
  hpcd_USB_OTG_FS.Init.low_power_enable = DISABLE;
  hpcd_USB_OTG_FS.Init.lpm_enable = DISABLE;
  hpcd_USB_OTG_FS.Init.battery_charging_enable = ENABLE;
  hpcd_USB_OTG_FS.Init.vbus_sensing_enable = ENABLE;
  hpcd_USB_OTG_FS.Init.use_dedicated_ep1 = DISABLE;
  if (HAL_PCD_Init(&hpcd_USB_OTG_FS) != HAL_OK)
  {
    Error_Handler();
  }

}

static void MX_DMA_Init(void)
{
  /* DMA controller clock enable */
  __HAL_RCC_DMA2_CLK_ENABLE();   // for ADC
  __HAL_RCC_DMA1_CLK_ENABLE();   // ✅ ADD THIS for USART3 TX

  /* DMA interrupt init */

  /* ADC DMA2_Stream0_IRQn interrupt configuration */
  HAL_NVIC_SetPriority(DMA2_Stream0_IRQn, 0, 0);
  HAL_NVIC_EnableIRQ(DMA2_Stream0_IRQn);

  /* ✅ ADD THIS: USART3 TX uses DMA1_Stream3 */
  HAL_NVIC_SetPriority(DMA1_Stream3_IRQn, 1, 0);
  HAL_NVIC_EnableIRQ(DMA1_Stream3_IRQn);
}

static void MX_GPIO_Init(void)
{
  GPIO_InitTypeDef GPIO_InitStruct = {0};

  /* GPIO Ports Clock Enable */
  __HAL_RCC_GPIOC_CLK_ENABLE();
  __HAL_RCC_GPIOH_CLK_ENABLE();
  __HAL_RCC_GPIOA_CLK_ENABLE();
  __HAL_RCC_GPIOB_CLK_ENABLE();
  __HAL_RCC_GPIOD_CLK_ENABLE();
  __HAL_RCC_GPIOG_CLK_ENABLE();

  /*Configure GPIO pin Output Level */
  HAL_GPIO_WritePin(GPIOB, LD3_Pin|LD2_Pin, GPIO_PIN_RESET);

  /*Configure GPIO pin Output Level */
  HAL_GPIO_WritePin(USB_PowerSwitchOn_GPIO_Port, USB_PowerSwitchOn_Pin, GPIO_PIN_RESET);

  /*Configure GPIO pin : USER_Btn_Pin */
  GPIO_InitStruct.Pin = USER_Btn_Pin;
  GPIO_InitStruct.Mode = GPIO_MODE_IT_RISING;
  GPIO_InitStruct.Pull = GPIO_NOPULL;
  HAL_GPIO_Init(USER_Btn_GPIO_Port, &GPIO_InitStruct);

  /*Configure GPIO pins : LD3_Pin LD2_Pin */
  GPIO_InitStruct.Pin = LD3_Pin|LD2_Pin;
  GPIO_InitStruct.Mode = GPIO_MODE_OUTPUT_PP;
  GPIO_InitStruct.Pull = GPIO_NOPULL;
  GPIO_InitStruct.Speed = GPIO_SPEED_FREQ_LOW;
  HAL_GPIO_Init(GPIOB, &GPIO_InitStruct);

  /*Configure GPIO pin : USB_PowerSwitchOn_Pin */
  GPIO_InitStruct.Pin = USB_PowerSwitchOn_Pin;
  GPIO_InitStruct.Mode = GPIO_MODE_OUTPUT_PP;
  GPIO_InitStruct.Pull = GPIO_NOPULL;
  GPIO_InitStruct.Speed = GPIO_SPEED_FREQ_LOW;
  HAL_GPIO_Init(USB_PowerSwitchOn_GPIO_Port, &GPIO_InitStruct);

  /*Configure GPIO pin : USB_OverCurrent_Pin */
  GPIO_InitStruct.Pin = USB_OverCurrent_Pin;
  GPIO_InitStruct.Mode = GPIO_MODE_INPUT;
  GPIO_InitStruct.Pull = GPIO_NOPULL;
  HAL_GPIO_Init(USB_OverCurrent_GPIO_Port, &GPIO_InitStruct);

}

/* USER CODE BEGIN 4 */
void HAL_ADC_ConvHalfCpltCallback(ADC_HandleTypeDef *hadc)
{
  if (hadc->Instance == ADC1) half_ready = 1;
}

void HAL_ADC_ConvCpltCallback(ADC_HandleTypeDef *hadc)
{
  if (hadc->Instance == ADC1) full_ready = 1;
}

/* USER CODE BEGIN 4 */
void HAL_UART_TxCpltCallback(UART_HandleTypeDef *huart)
{
    if (huart->Instance == USART3)
    {
        uart3_tx_done = 1;

        // LED indicates TX completed
        HAL_GPIO_TogglePin(GPIOB, LD3_Pin);
    }
}

void HAL_UART_ErrorCallback(UART_HandleTypeDef *huart)
{
    if (huart->Instance == USART3)
    {
        // Fast blink LD3 to show UART error happened
        for (int i = 0; i < 5; i++) {
            HAL_GPIO_TogglePin(GPIOB, LD3_Pin);
            HAL_Delay(50);
        }
        uart3_tx_done = 1; // allow retry
    }
}

/* USER CODE END 4 */

/* USER CODE END 4 */

 /* MPU Configuration */

void MPU_Config(void)
{
  MPU_Region_InitTypeDef MPU_InitStruct = {0};

  /* Disables the MPU */
  HAL_MPU_Disable();

  /** Initializes and configures the Region and the memory to be protected
  */
  MPU_InitStruct.Enable = MPU_REGION_ENABLE;
  MPU_InitStruct.Number = MPU_REGION_NUMBER0;
  MPU_InitStruct.BaseAddress = 0x0;
  MPU_InitStruct.Size = MPU_REGION_SIZE_4GB;
  MPU_InitStruct.SubRegionDisable = 0x87;
  MPU_InitStruct.TypeExtField = MPU_TEX_LEVEL0;
  MPU_InitStruct.AccessPermission = MPU_REGION_NO_ACCESS;
  MPU_InitStruct.DisableExec = MPU_INSTRUCTION_ACCESS_DISABLE;
  MPU_InitStruct.IsShareable = MPU_ACCESS_SHAREABLE;
  MPU_InitStruct.IsCacheable = MPU_ACCESS_NOT_CACHEABLE;
  MPU_InitStruct.IsBufferable = MPU_ACCESS_NOT_BUFFERABLE;

  HAL_MPU_ConfigRegion(&MPU_InitStruct);
  /* Enables the MPU */
  HAL_MPU_Enable(MPU_PRIVILEGED_DEFAULT);

}

void Error_Handler(void)
{
  __disable_irq();
  while (1)
  {
  }
}
